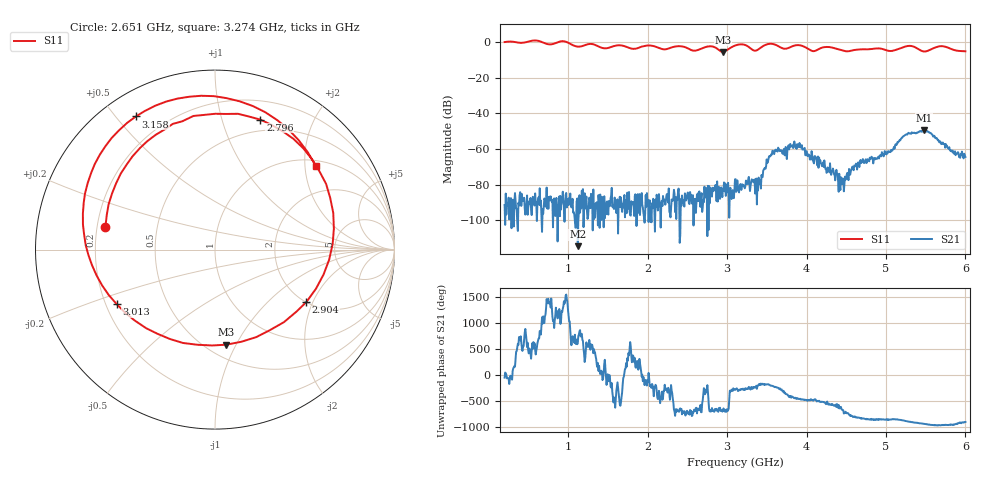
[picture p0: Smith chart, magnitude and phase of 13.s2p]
! NanoVNA-App
! Date: 2024-06-25 16:11:06
! Start: 200MHz Stop: 6GHz Points: 801
! S-Parameter data: F S11 S21 S12 S22
# Hz S RI R 50
!  Frequency  S11_Real  S11_Imag  S21_Real  S21_Imag  S12_Real  S12_Imag  S22_Real  S22_Imag
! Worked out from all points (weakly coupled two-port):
!   801 points, 200 MHz to 6 GHz, reference 50 ohm
!   highest |S21| = -49.51 dB at 5.478 GHz (marker M1); lowest = -114.6 dB at 1.121 GHz (marker M2)
!   lowest |S11| = -5.5 dB at 2.948 GHz (marker M3), VSWR 3.29, Z = 30.9 - j45.8 ohm
!   |S11| at or under -10 dB: nowhere
!   S12 and S22 are empty: the file has one direction only
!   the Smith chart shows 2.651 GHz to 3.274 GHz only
!   S11 on the Smith chart (normalised r, x): 2.651 GHz: 0.23, +0.10; 2.796 GHz: 0.38, +1.34; 2.904 GHz: 2.01, -1.79; 3.013 GHz: 0.24, -0.24; 3.158 GHz: 0.10, +0.56; 3.274 GHz: 1.15, +2.28
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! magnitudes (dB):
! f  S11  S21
! 200 MHz  0.0  -91.4
! 1.121 GHz  -2.5  -114.6
! 1.171 GHz  -2.3  -83.4
! 2.136 GHz  -3.1  -91.3
! 2.651 GHz  -4.1  -83.8
! 2.796 GHz  -2.3  -84.5
! 2.904 GHz  -4.6  -82.2
! 2.948 GHz  -5.5  -82.5
! 3.013 GHz  -4.1  -79.0
! 3.1 GHz  -1.9  -77.1
! 3.158 GHz  -1.3  -81.0
! 3.274 GHz  -2.7  -75.7
! 3.419 GHz  -3.3  -77.4
! 3.629 GHz  -1.9  -60.6
! 3.912 GHz  -1.7  -56.6
! 4.072 GHz  -5.0  -63.5
! 4.449 GHz  -4.7  -79.6
! 4.681 GHz  -4.1  -66.1
! 5.036 GHz  -4.9  -61.7
! 5.253 GHz  -2.4  -51.8
! 5.478 GHz  -5.3  -49.5
! 6 GHz  -5.1  -64.5
